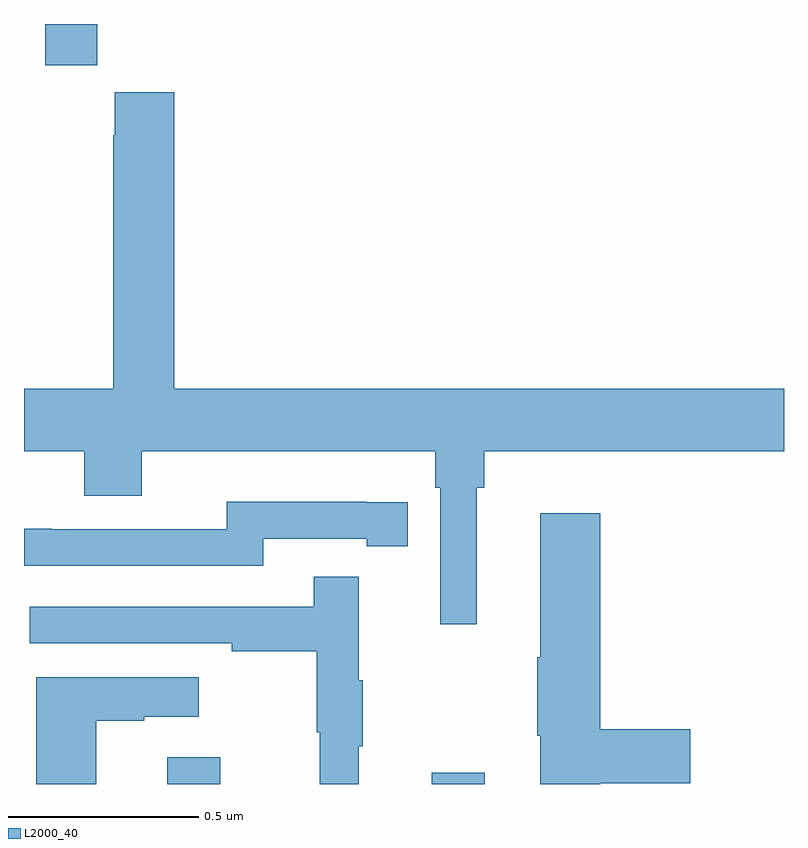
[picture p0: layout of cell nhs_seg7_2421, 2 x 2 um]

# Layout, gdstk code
import gdstk
lib = gdstk.Library(unit=1e-6, precision=1e-09)
def R(c, l, rs):  # rectangles x0, y0, x1, y1
    for r in rs: c.add(gdstk.rectangle(r[:2], r[2:], *l))
def P(c, l, *ps):  # polygons
    for p in ps: c.add(gdstk.Polygon(p, *l))
L2000_40 = (2000, 40)

nhs_seg7_2421 = lib.new_cell('nhs_seg7_2421')
R(nhs_seg7_2421, L2000_40, [(144.377,1073,144.517,1073.071), (145.073,1073,145.213,1073.029), (144.056,1074.891,144.193,1075)])
P(nhs_seg7_2421, L2000_40, [(145.192,1073.78),(145.211,1073.78),(145.211,1073.876),(146,1073.876),(146,1074.04),(144.395,1074.04),(144.395,1074.82),(144.239,1074.82),(144.239,1074.707),(144.235,1074.707),(144.235,1074.04),(144,1074.04),(144,1073.876),(144.158,1073.876),(144.158,1073.759),(144.31,1073.759),(144.31,1073.876),(145.082,1073.876),(145.082,1073.78),(145.095,1073.78),(145.095,1073.421),(145.192,1073.421)],
  [(144.63,1073.646),(144.902,1073.646),(144.902,1073.626),(145.01,1073.626),(145.01,1073.742),(144.902,1073.742),(144.902,1073.743),(144.534,1073.743),(144.534,1073.67),(144.074,1073.67),(144.074,1073.672),(144,1073.672),(144,1073.574),(144.63,1073.574)],
  [(145.517,1073.002),(145.753,1073.002),(145.753,1073.144),(145.517,1073.144),(145.517,1073.713),(145.358,1073.713),(145.358,1073.333),(145.351,1073.333),(145.351,1073.127),(145.358,1073.127),(145.358,1073),(145.517,1073)],
  [(144.881,1073.099),(144.892,1073.099),(144.892,1073.273),(144.881,1073.273),(144.881,1073.545),(144.763,1073.545),(144.763,1073.466),(144.015,1073.466),(144.015,1073.37),(144.547,1073.37),(144.547,1073.35),(144.771,1073.35),(144.771,1073.136),(144.778,1073.136),(144.778,1073),(144.881,1073)],
  [(144.19,1073.167),(144.317,1073.167),(144.317,1073.177),(144.46,1073.177),(144.46,1073.281),(144.032,1073.281),(144.032,1073),(144.19,1073)])

lib.write_gds('nhs_seg7_2421.gds')
